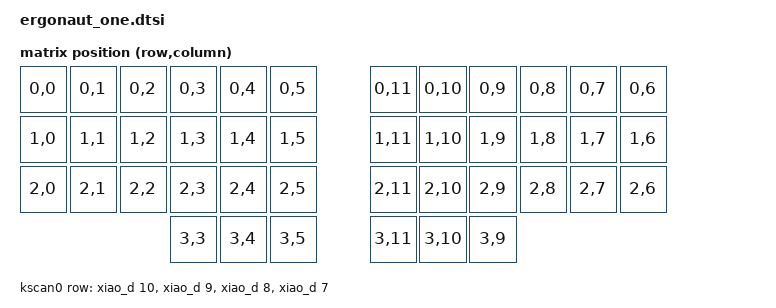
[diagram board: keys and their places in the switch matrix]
/*
 * Copyright (c) 2020 The ZMK Contributors
 *
 * SPDX-License-Identifier: MIT
 */

#include <dt-bindings/zmk/matrix_transform.h>

#include "ergonaut_one_layout.dtsi"

#define INPUT_EV_KEY 0x01               /**< Key event */
#define INPUT_EV_REL 0x02               /**< Relative coordinate event */
#define INPUT_EV_ABS 0x03               /**< Absolute coordinate event */
#define INPUT_EV_MSC 0x04               /**< Miscellaneous event */
#define INPUT_EV_VENDOR_START 0xf0      /**< Vendor specific event start */
#define INPUT_EV_VENDOR_STOP 0xff       /**< Vendor specific event stop */
#define INPUT_REL_X 0x00                /**< Relative X coordinate */
#define INPUT_REL_Y 0x01                /**< Relative Y coordinate */
#define INPUT_REL_WHEEL 0x08            /**< Relative wheel coordinate */
#define INPUT_REL_HWHEEL 0x06           /**< Relative horizontal wheel coordinate */
#define INPUT_REL_MISC 0x09             /**< Relative misc coordinate */

&ergonaut_one_layout {
    transform = <&default_transform>;
};

/ {
    chosen {
        zmk,kscan = &kscan0;
        zmk,physical_layout = &ergonaut_one_layout;
    };

    default_transform: keymap_transform_0 {
        compatible = "zmk,matrix-transform";
        columns = <12>;
        rows = <4>;

            // | SW1  | SW2  | SW3  | SW4  | SW5  | SW6  |   | SW6  | SW5  | SW4  | SW3  | SW2  | SW1  |
            // | SW7  | SW8  | SW9  | SW10 | SW11 | SW12 |   | SW12 | SW11 | SW10 | SW9  | SW8  | SW7  |
            // | SW13 | SW14 | SW15 | SW16 | SW17 | SW18 |   | SW18 | SW17 | SW16 | SW15 | SW14 | SW13 |
            // |      |      |      | SW20 | SW21 | SW22 |   | SW22 | SW21 | SW20 |      |      |      |

        map = <
            RC(0,0) RC(0,1) RC(0,2) RC(0,3) RC(0,4) RC(0,5)  RC(0,11) RC(0,10) RC(0,9) RC(0,8) RC(0,7) RC(0,6)
            RC(1,0) RC(1,1) RC(1,2) RC(1,3) RC(1,4) RC(1,5)  RC(1,11) RC(1,10) RC(1,9) RC(1,8) RC(1,7) RC(1,6)
            RC(2,0) RC(2,1) RC(2,2) RC(2,3) RC(2,4) RC(2,5)  RC(2,11) RC(2,10) RC(2,9) RC(2,8) RC(2,7) RC(2,6)
                                    RC(3,3) RC(3,4) RC(3,5)  RC(3,11) RC(3,10) RC(3,9)
            >;
    };

	kscan0: kscan_0 {
		compatible = "zmk,kscan-gpio-matrix";
		label = "KSCAN";
		wakeup-source;

		diode-direction = "col2row";
		row-gpios
			= <&xiao_d 10 (GPIO_ACTIVE_HIGH | GPIO_PULL_DOWN)>
			, <&xiao_d  9 (GPIO_ACTIVE_HIGH | GPIO_PULL_DOWN)>
			, <&xiao_d  8 (GPIO_ACTIVE_HIGH | GPIO_PULL_DOWN)>
			, <&xiao_d  7 (GPIO_ACTIVE_HIGH | GPIO_PULL_DOWN)>
			;
	};

	split_inputs {
		#address-cells = <1>;
		#size-cells = <0>;
		
		joystick_split: joystick_split@0 {
		    compatible = "zmk,input-split";
		    reg = <0>;
		};
	};
	
	joystick_listener: joystick_listener {
		compatible = "zmk,input-listener";
		status = "disabled";
		device = <&joystick_split>;
	};
	
};

&xiao_spi { status = "disabled"; };
&xiao_i2c { status = "disabled"; };
&xiao_serial { status = "disabled"; };

 &gpio0 {
    fastbatcharge: fast-battery-charge {
        gpio-hog;
        gpios = <13 GPIO_ACTIVE_HIGH>;
        output-low;
        line-name = "Fast Battery Charge";
    };
};
